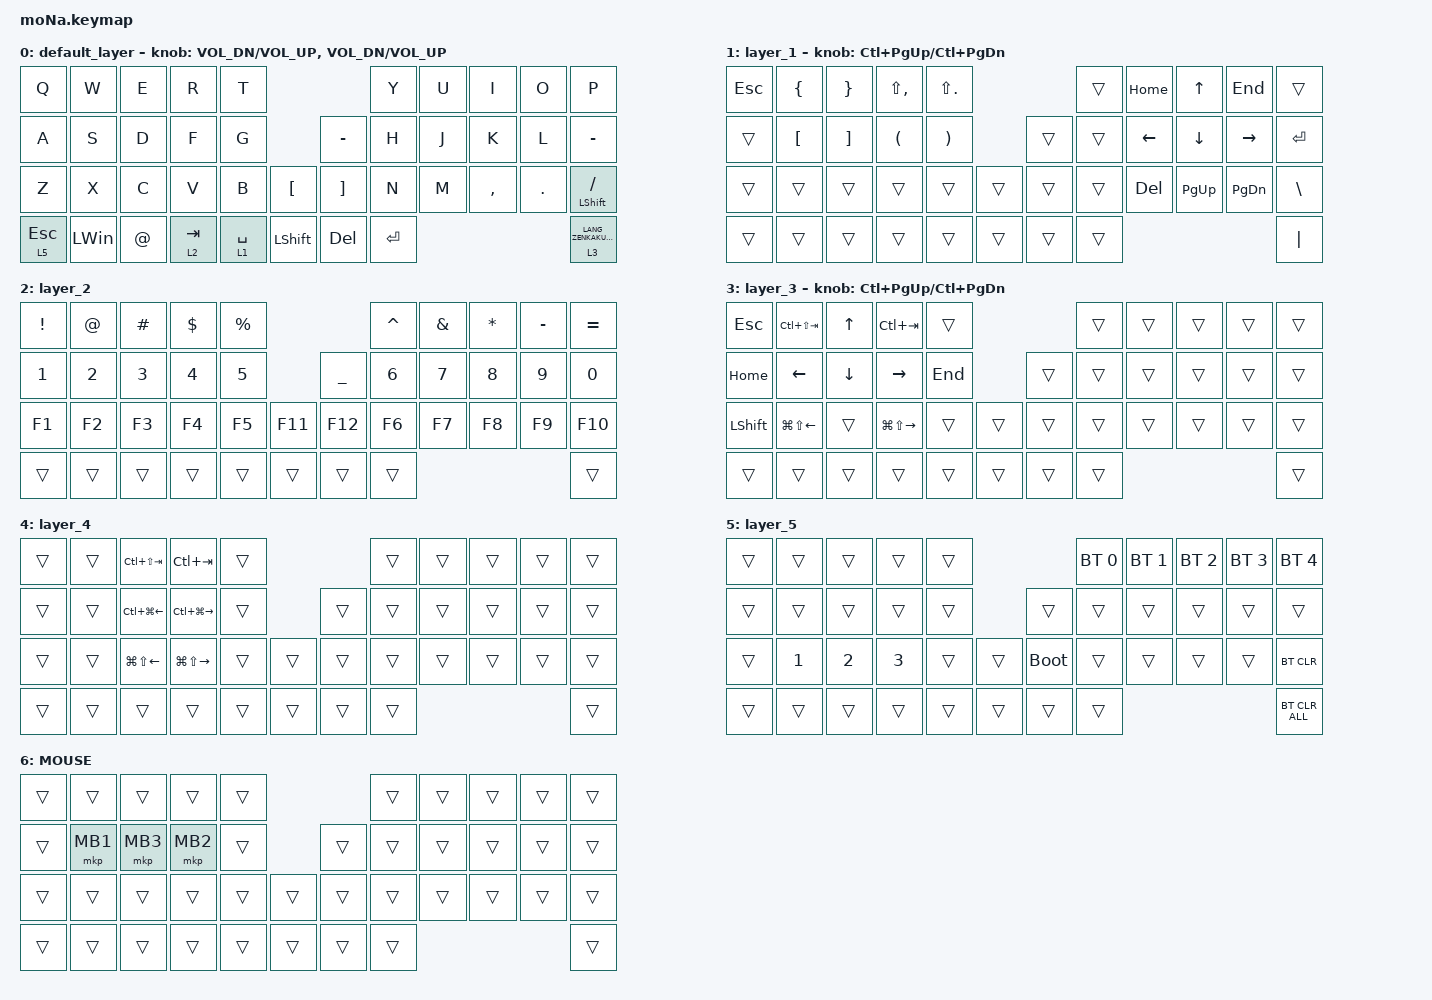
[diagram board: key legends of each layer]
#include <behaviors/rgbled_widget.dtsi>  // 新しく追加するインクルード
#include <behaviors.dtsi>
#include <dt-bindings/zmk/bt.h>
#include <dt-bindings/zmk/keys.h>
#include <dt-bindings/zmk/mouse.h>

#define MOUSE 6

&mt {
    flavor = "balanced";
    quick-tap-ms = <0>;
};

/ {
    combos {
        compatible = "zmk,combos";

        tab {
            bindings = <&kp TAB>;
            key-positions = <11 12>;
        };

        shift_tab {
            bindings = <&kp LS(TAB)>;
            key-positions = <12 13>;
        };

        muhennkann {
            bindings = <&to_layer_0 INT_MUHENKAN>;
            key-positions = <11 10>;
        };

        double_quotation {
            bindings = <&kp DOUBLE_QUOTES>;
            key-positions = <20 21>;
        };

        eq {
            bindings = <&kp EQUAL>;
            key-positions = <24 25>;
        };
    };

    macros {
        to_layer_0: to_layer_0 {
            compatible = "zmk,behavior-macro-one-param";
            #binding-cells = <1>;
            bindings = <&to 0 &macro_param_1to1 &kp MACRO_PLACEHOLDER>;
            label = "TO_LAYER_0";
        };
    };

    behaviors {
        lt_to_layer_0: lt_to_layer_0 {
            compatible = "zmk,behavior-hold-tap";
            label = "LAYER_TAP_TO_0";
            bindings = <&mo>, <&to_layer_0>;

            #binding-cells = <2>;
            tapping-term-ms = <200>;
        };
    };

    keymap {
        compatible = "zmk,keymap";

        default_layer {
            bindings = <
&kp Q         &kp W         &kp E   &kp R      &kp T                                               &kp Y      &kp U  &kp I      &kp O       &kp P
&kp A         &kp S         &kp D   &kp F      &kp G                            &kp MINUS          &kp H      &kp J  &kp K      &kp L       &kp MINUS
&kp Z         &kp X         &kp C   &kp V      &kp B        &kp LEFT_BRACKET    &kp RIGHT_BRACKET  &kp N      &kp M  &kp COMMA  &kp PERIOD  &mt LEFT_SHIFT SLASH
&lt 5 ESCAPE  &kp LEFT_WIN  &kp AT  &lt 2 TAB  &lt 1 SPACE  &kp LEFT_SHIFT      &kp DEL            &kp ENTER                                &lt 3 LANG_ZENKAKUHANKAKU
            >;

            sensor-bindings = <&inc_dec_kp C_VOL_DN C_VOL_UP &inc_dec_kp C_VOL_DN C_VOL_UP>;
        };

        layer_1 {
            bindings = <
&kp ESCAPE  &kp LEFT_BRACE    &kp RIGHT_BRACE    &kp LS(COMMA)         &kp LS(PERIOD)                           &trans  &kp HOME        &kp UP_ARROW    &kp END          &trans
&trans      &kp LEFT_BRACKET  &kp RIGHT_BRACKET  &kp LEFT_PARENTHESIS  &kp RIGHT_PARENTHESIS            &trans  &trans  &kp LEFT_ARROW  &kp DOWN_ARROW  &kp RIGHT_ARROW  &kp ENTER
&trans      &trans            &trans             &trans                &trans                 &trans    &trans  &trans  &kp DEL         &kp PAGE_UP     &kp PAGE_DOWN    &kp BACKSLASH
&trans      &trans            &trans             &trans                &trans                 &trans    &trans  &trans                                                   &kp PIPE
            >;

            sensor-bindings = <&inc_dec_kp LC(PAGE_UP) LC(PAGE_DOWN)>;
        };

        layer_2 {
            bindings = <
&kp EXCLAMATION  &kp AT_SIGN  &kp HASH  &kp DOLLAR  &kp PERCENT                             &kp CARET  &kp AMPERSAND  &kp ASTERISK  &kp MINUS  &kp EQUAL
&kp 1            &kp 2        &kp 3     &kp 4       &kp 5                   &kp UNDERSCORE  &kp 6      &kp 7          &kp 8         &kp 9      &kp 0
&kp F1           &kp F2       &kp F3    &kp F4      &kp F5       &kp F11    &kp F12         &kp F6     &kp F7         &kp F8        &kp F9     &kp F10
&trans           &trans       &trans    &trans      &trans       &trans     &trans          &trans                                             &trans
            >;
        };

        layer_3 {
            bindings = <
&kp ESCAPE      &kp LC(LS(TAB))         &kp UP_ARROW    &kp LC(TAB)              &trans                     &trans  &trans  &trans  &trans  &trans
&kp HOME        &kp LEFT_ARROW          &kp DOWN_ARROW  &kp RIGHT_ARROW          &kp END            &trans  &trans  &trans  &trans  &trans  &trans
&kp LEFT_SHIFT  &kp LG(LS(LEFT_ARROW))  &trans          &kp LG(LS(RIGHT_ARROW))  &trans   &trans    &trans  &trans  &trans  &trans  &trans  &trans
&trans          &trans                  &trans          &trans                   &trans   &trans    &trans  &trans                          &trans
            >;

            sensor-bindings = <&inc_dec_kp LC(PAGE_UP) LC(PAGE_DOWN)>;
        };

        layer_4 {
            bindings = <
&trans  &trans  &kp LC(LS(TAB))         &kp LC(TAB)              &trans                    &trans  &trans  &trans  &trans  &trans
&trans  &trans  &kp LC(LG(LEFT_ARROW))  &kp LC(LG(RIGHT_ARROW))  &trans            &trans  &trans  &trans  &trans  &trans  &trans
&trans  &trans  &kp LG(LS(LEFT_ARROW))  &kp LG(LS(RIGHT_ARROW))  &trans  &trans    &trans  &trans  &trans  &trans  &trans  &trans
&trans  &trans  &trans                  &trans                   &trans  &trans    &trans  &trans                          &trans
            >;
        };

        layer_5 {
            bindings = <
&trans  &trans        &trans        &trans        &trans                         &bt BT_SEL 0  &bt BT_SEL 1  &bt BT_SEL 2  &bt BT_SEL 3  &bt BT_SEL 4
&trans  &trans        &trans        &trans        &trans            &trans       &trans        &trans        &trans        &trans        &trans
&trans  &kp NUMBER_1  &kp NUMBER_2  &kp NUMBER_3  &trans  &trans    &bootloader  &trans        &trans        &trans        &trans        &bt BT_CLR
&trans  &trans        &trans        &trans        &trans  &trans    &trans       &trans                                                  &bt BT_CLR_ALL
            >;
        };

        MOUSE {
            bindings = <
&trans  &trans    &trans    &trans    &trans                    &trans  &trans  &trans  &trans  &trans
&trans  &mkp MB1  &mkp MB3  &mkp MB2  &trans            &trans  &trans  &trans  &trans  &trans  &trans
&trans  &trans    &trans    &trans    &trans  &trans    &trans  &trans  &trans  &trans  &trans  &trans
&trans  &trans    &trans    &trans    &trans  &trans    &trans  &trans                          &trans
            >;
        };
    };
};
